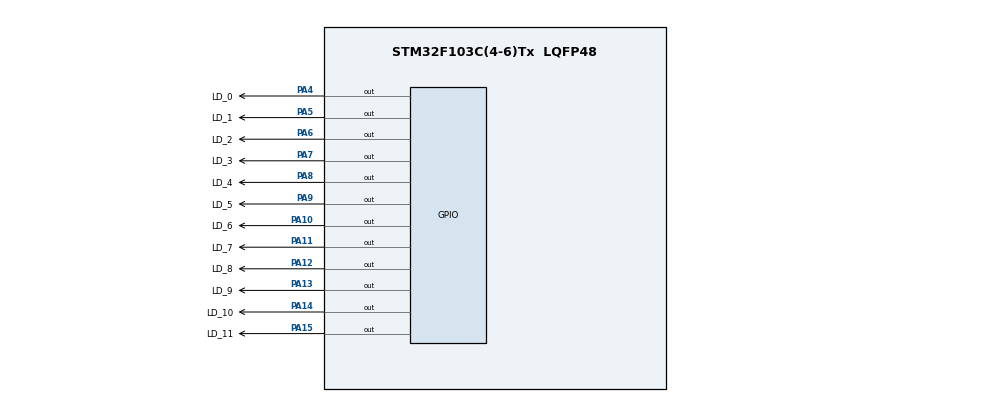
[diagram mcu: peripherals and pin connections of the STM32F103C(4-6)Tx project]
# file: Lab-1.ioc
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Mcu.Family=STM32F1
Mcu.Name=STM32F103C(4-6)Tx
Mcu.Package=LQFP48
NVIC.PriorityGroup=NVIC_PRIORITYGROUP_4
PA10.GPIO_Label=LD_6
PA10.Signal=GPIO_Output
PA11.GPIO_Label=LD_7
PA11.Signal=GPIO_Output
PA12.GPIO_Label=LD_8
PA12.Signal=GPIO_Output
PA13.GPIO_Label=LD_9
PA13.Signal=GPIO_Output
PA14.GPIO_Label=LD_10
PA14.Signal=GPIO_Output
PA15.GPIO_Label=LD_11
PA15.Signal=GPIO_Output
PA4.GPIO_Label=LD_0
PA4.Signal=GPIO_Output
PA5.GPIO_Label=LD_1
PA5.Signal=GPIO_Output
PA6.GPIO_Label=LD_2
PA6.Signal=GPIO_Output
PA7.GPIO_Label=LD_3
PA7.Signal=GPIO_Output
PA8.GPIO_Label=LD_4
PA8.Signal=GPIO_Output
PA9.GPIO_Label=LD_5
PA9.Signal=GPIO_Output
ProjectManager.HeapSize=0x200
ProjectManager.StackSize=0x400
ProjectManager.TargetToolchain=STM32CubeIDE
RCC.APB1Freq_Value=8000000
RCC.APB2Freq_Value=8000000
VP_SYS_VS_ND.Mode=No_Debug
board=custom

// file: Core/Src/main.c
/* USER CODE BEGIN Header */
/**
  ******************************************************************************
  * @file           : main.c
  * @brief          : Main program body
  ******************************************************************************
  * @attention
  *
  * <h2><center>&copy; Copyright (c) 2023 STMicroelectronics.
  * All rights reserved.</center></h2>
  *
  * This software component is licensed by ST under BSD 3-Clause license,
  * the "License"; You may not use this file except in compliance with the
  * License. You may obtain a copy of the License at:
  *                        opensource.org/licenses/BSD-3-Clause
  *
  ******************************************************************************
  */
/* USER CODE END Header */
#include "main.h"

/* USER CODE BEGIN Includes */
#include <stdint.h>
/* USER CODE END Includes */

void SystemClock_Config(void);
static void MX_GPIO_Init(void);

/* USER CODE BEGIN 0 */
void clearNumberOnClock (int);
void setNumberOnClock (int);
void displayClock (int, int, int);
void increaseClock(int*, int*, int*);
/* USER CODE END 0 */

int main(void)
{

  /* MCU Configuration--------------------------------------------------------*/

  /* Reset of all peripherals, Initializes the Flash interface and the Systick. */
  HAL_Init();

  /* Configure the system clock */
  SystemClock_Config();

  /* Initialize all configured peripherals */
  MX_GPIO_Init();
  /* USER CODE BEGIN 2 */
  int hour = 11;
  int minute = 5;
  int second = 29;
  uint32_t counter = 0;
  /* USER CODE END 2 */

  /* Infinite loop */
  /* USER CODE BEGIN WHILE */
  while (1)
  {
	  if (counter >= 10)
	  {
		  counter = 0;
		  increaseClock(&hour, &minute, &second);
		  displayClock(hour, minute, second);
	  }
	  counter++;
	  HAL_Delay(10);
    /* USER CODE END WHILE */

  }
}

void SystemClock_Config(void)
{
  RCC_OscInitTypeDef RCC_OscInitStruct = {0};
  RCC_ClkInitTypeDef RCC_ClkInitStruct = {0};

  /** Initializes the RCC Oscillators according to the specified parameters
  * in the RCC_OscInitTypeDef structure.
  */
  RCC_OscInitStruct.OscillatorType = RCC_OSCILLATORTYPE_HSI;
  RCC_OscInitStruct.HSIState = RCC_HSI_ON;
  RCC_OscInitStruct.HSICalibrationValue = RCC_HSICALIBRATION_DEFAULT;
  RCC_OscInitStruct.PLL.PLLState = RCC_PLL_NONE;
  if (HAL_RCC_OscConfig(&RCC_OscInitStruct) != HAL_OK)
  {
    Error_Handler();
  }
  /** Initializes the CPU, AHB and APB buses clocks
  */
  RCC_ClkInitStruct.ClockType = RCC_CLOCKTYPE_HCLK|RCC_CLOCKTYPE_SYSCLK
                              |RCC_CLOCKTYPE_PCLK1|RCC_CLOCKTYPE_PCLK2;
  RCC_ClkInitStruct.SYSCLKSource = RCC_SYSCLKSOURCE_HSI;
  RCC_ClkInitStruct.AHBCLKDivider = RCC_SYSCLK_DIV1;
  RCC_ClkInitStruct.APB1CLKDivider = RCC_HCLK_DIV1;
  RCC_ClkInitStruct.APB2CLKDivider = RCC_HCLK_DIV1;

  if (HAL_RCC_ClockConfig(&RCC_ClkInitStruct, FLASH_LATENCY_0) != HAL_OK)
  {
    Error_Handler();
  }
}

static void MX_GPIO_Init(void)
{
  GPIO_InitTypeDef GPIO_InitStruct = {0};

  /* GPIO Ports Clock Enable */
  __HAL_RCC_GPIOA_CLK_ENABLE();

  /*Configure GPIO pin Output Level */
  HAL_GPIO_WritePin(GPIOA, LD_0_Pin|LD_1_Pin|LD_2_Pin|LD_3_Pin
                          |LD_4_Pin|LD_5_Pin|LD_6_Pin|LD_7_Pin
                          |LD_8_Pin|LD_9_Pin|LD_10_Pin|LD_11_Pin, GPIO_PIN_RESET);

  /*Configure GPIO pins : LD_0_Pin LD_1_Pin LD_2_Pin LD_3_Pin
                           LD_4_Pin LD_5_Pin LD_6_Pin LD_7_Pin
                           LD_8_Pin LD_9_Pin LD_10_Pin LD_11_Pin */
  GPIO_InitStruct.Pin = LD_0_Pin|LD_1_Pin|LD_2_Pin|LD_3_Pin
                          |LD_4_Pin|LD_5_Pin|LD_6_Pin|LD_7_Pin
                          |LD_8_Pin|LD_9_Pin|LD_10_Pin|LD_11_Pin;
  GPIO_InitStruct.Mode = GPIO_MODE_OUTPUT_PP;
  GPIO_InitStruct.Pull = GPIO_NOPULL;
  GPIO_InitStruct.Speed = GPIO_SPEED_FREQ_LOW;
  HAL_GPIO_Init(GPIOA, &GPIO_InitStruct);

}

/* USER CODE BEGIN 4 */
void setNumberOnClock (int num)
{
	if (0 == num)
	{
		HAL_GPIO_WritePin(LD_0_GPIO_Port, LD_0_Pin, 1);
	}

	if (1 == num)
	{
		HAL_GPIO_WritePin(LD_1_GPIO_Port, LD_1_Pin, 1);
	}

	if (2 == num)
	{
		HAL_GPIO_WritePin(LD_2_GPIO_Port, LD_2_Pin, 1);
	}

	if (3 == num)
		HAL_GPIO_WritePin(LD_3_GPIO_Port, LD_3_Pin, 1);

	if (4 == num)
		HAL_GPIO_WritePin(LD_4_GPIO_Port, LD_4_Pin, 1);

	if (5 == num)
		HAL_GPIO_WritePin(LD_5_GPIO_Port, LD_5_Pin, 1);

	if (6 == num)
		HAL_GPIO_WritePin(LD_6_GPIO_Port, LD_6_Pin, 1);

	if (7 == num)
		HAL_GPIO_WritePin(LD_7_GPIO_Port, LD_7_Pin, 1);

	if (8 == num)
		HAL_GPIO_WritePin(LD_8_GPIO_Port, LD_8_Pin, 1);

	if (9 == num)
		HAL_GPIO_WritePin(LD_9_GPIO_Port, LD_9_Pin, 1);

	if (10 == num)
		HAL_GPIO_WritePin(LD_10_GPIO_Port, LD_10_Pin, 1);

	if (11 == num)
		HAL_GPIO_WritePin(LD_11_GPIO_Port, LD_11_Pin, 1);
}

void clearNumberOnClock (int num)
{
	if (0 == num)
	{
		HAL_GPIO_WritePin(LD_0_GPIO_Port, LD_0_Pin, 0);
	}

	if (1 == num)
	{
		HAL_GPIO_WritePin(LD_1_GPIO_Port, LD_1_Pin, 0);
	}

	if (2 == num)
	{
		HAL_GPIO_WritePin(LD_2_GPIO_Port, LD_2_Pin, 0);
	}

	if (3 == num)
		HAL_GPIO_WritePin(LD_3_GPIO_Port, LD_3_Pin, 0);

	if (4 == num)
		HAL_GPIO_WritePin(LD_4_GPIO_Port, LD_4_Pin, 0);

	if (5 == num)
		HAL_GPIO_WritePin(LD_5_GPIO_Port, LD_5_Pin, 0);

	if (6 == num)
		HAL_GPIO_WritePin(LD_6_GPIO_Port, LD_6_Pin, 0);

	if (7 == num)
		HAL_GPIO_WritePin(LD_7_GPIO_Port, LD_7_Pin, 0);

	if (8 == num)
		HAL_GPIO_WritePin(LD_8_GPIO_Port, LD_8_Pin, 0);

	if (9 == num)
		HAL_GPIO_WritePin(LD_9_GPIO_Port, LD_9_Pin, 0);

	if (10 == num)
		HAL_GPIO_WritePin(LD_10_GPIO_Port, LD_10_Pin, 0);

	if (11 == num)
		HAL_GPIO_WritePin(LD_11_GPIO_Port, LD_11_Pin, 0);
}

void displayClock ( int hour,  int minute,  int second)
{

	for (int i = 0; i <= 11; ++i)
	{
		if (hour == i || second/5 == i || minute/5 == i)
			setNumberOnClock (i);
		else
			clearNumberOnClock(i);
	}
}

void increaseClock (int* hour, int* minute, int* second)
{
	(*second)++;

	if ((*second) >= 60)
	{
		(*second) = 0;
		(*minute)++;
	}

	if ((*minute) >= 60)
	{
		(*minute) = 0;
		(*hour)++;
	}

	if ((*hour) >= 12)
		(*hour) = 0;
}

/* USER CODE END 4 */

void Error_Handler(void)
{
  __disable_irq();
  while (1)
  {
  }
}

/************************ (C) COPYRIGHT STMicroelectronics *****END OF FILE****/
